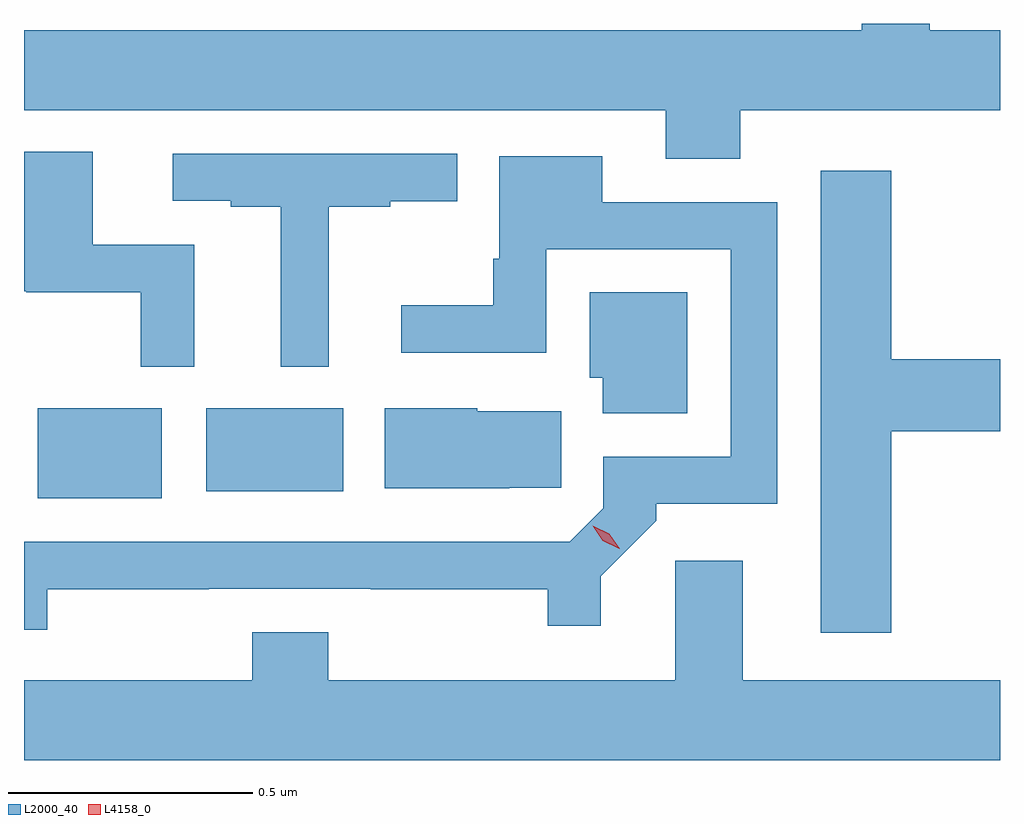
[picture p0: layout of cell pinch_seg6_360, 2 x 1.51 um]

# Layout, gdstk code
import gdstk
lib = gdstk.Library(unit=1e-6, precision=1e-09)
def R(c, l, rs):  # rectangles x0, y0, x1, y1
    for r in rs: c.add(gdstk.rectangle(r[:2], r[2:], *l))
def P(c, l, *ps):  # polygons
    for p in ps: c.add(gdstk.Polygon(p, *l))
L2000_40 = (2000, 40)
L4158_0 = (4158, 0)

pinch_seg6_360 = lib.new_cell('pinch_seg6_360')
R(pinch_seg6_360, L2000_40, [(730.514,954.533,730.768,954.718), (730.859,954.548,731.14,954.718)])
P(pinch_seg6_360, L2000_40, [(731.954,955.328),(732.486,955.328),(732.486,955.492),(732.342,955.492),(732.342,955.506),(732.203,955.506),(732.203,955.492),(730.486,955.492),(730.486,955.328),(731.801,955.328),(731.801,955.229),(731.954,955.229)],
  [(730.835,955.053),(730.627,955.053),(730.627,955.243),(730.487,955.243),(730.487,955.053),(730.486,955.053),(730.486,954.957),(730.491,954.957),(730.491,954.955),(730.725,954.955),(730.725,954.803),(730.835,954.803)],
  [(731.11,955.131),(731.237,955.131),(731.237,955.142),(731.374,955.142),(731.374,955.239),(730.791,955.239),(730.791,955.143),(730.91,955.143),(730.91,955.131),(731.012,955.131),(731.012,954.803),(731.11,954.803)],
  [(730.534,954.347),(730.865,954.347),(730.865,954.348),(731.197,954.348),(731.197,954.347),(731.559,954.347),(731.559,954.272),(731.668,954.272),(731.668,954.373),(731.782,954.487),(731.782,954.522),(732.03,954.522),(732.03,955.14),(731.671,955.14),(731.671,955.234),(731.46,955.234),(731.46,955.024),(731.448,955.024),(731.448,954.929),(731.259,954.929),(731.259,954.831),(731.556,954.831),(731.556,955.044),(731.934,955.044),(731.934,954.618),(731.673,954.618),(731.673,954.513),(731.604,954.444),(730.486,954.444),(730.486,954.264),(730.534,954.264)],
  [(732.263,954.671),(732.486,954.671),(732.486,954.818),(732.263,954.818),(732.263,955.204),(732.119,955.204),(732.119,954.258),(732.263,954.258)],
  [(731.845,954.955),(731.645,954.955),(731.645,954.78),(731.672,954.78),(731.672,954.707),(731.845,954.707)],
  [(731.48,954.555),(731.587,954.555),(731.587,954.712),(731.415,954.712),(731.415,954.718),(731.225,954.718),(731.225,954.554),(731.48,954.554)],
  [(732.486,954.16),(731.959,954.16),(731.959,954.405),(731.821,954.405),(731.821,954.16),(731.109,954.16),(731.109,954.259),(730.954,954.259),(730.954,954.16),(730.486,954.16),(730.486,953.996),(732.486,953.996)])
P(pinch_seg6_360, L4158_0, [(731.706,954.43),(731.672,954.446),(731.651,954.477),(731.651,954.477),(731.651,954.477),(731.685,954.461),(731.707,954.43),(731.707,954.43)])

lib.write_gds('pinch_seg6_360.gds')
